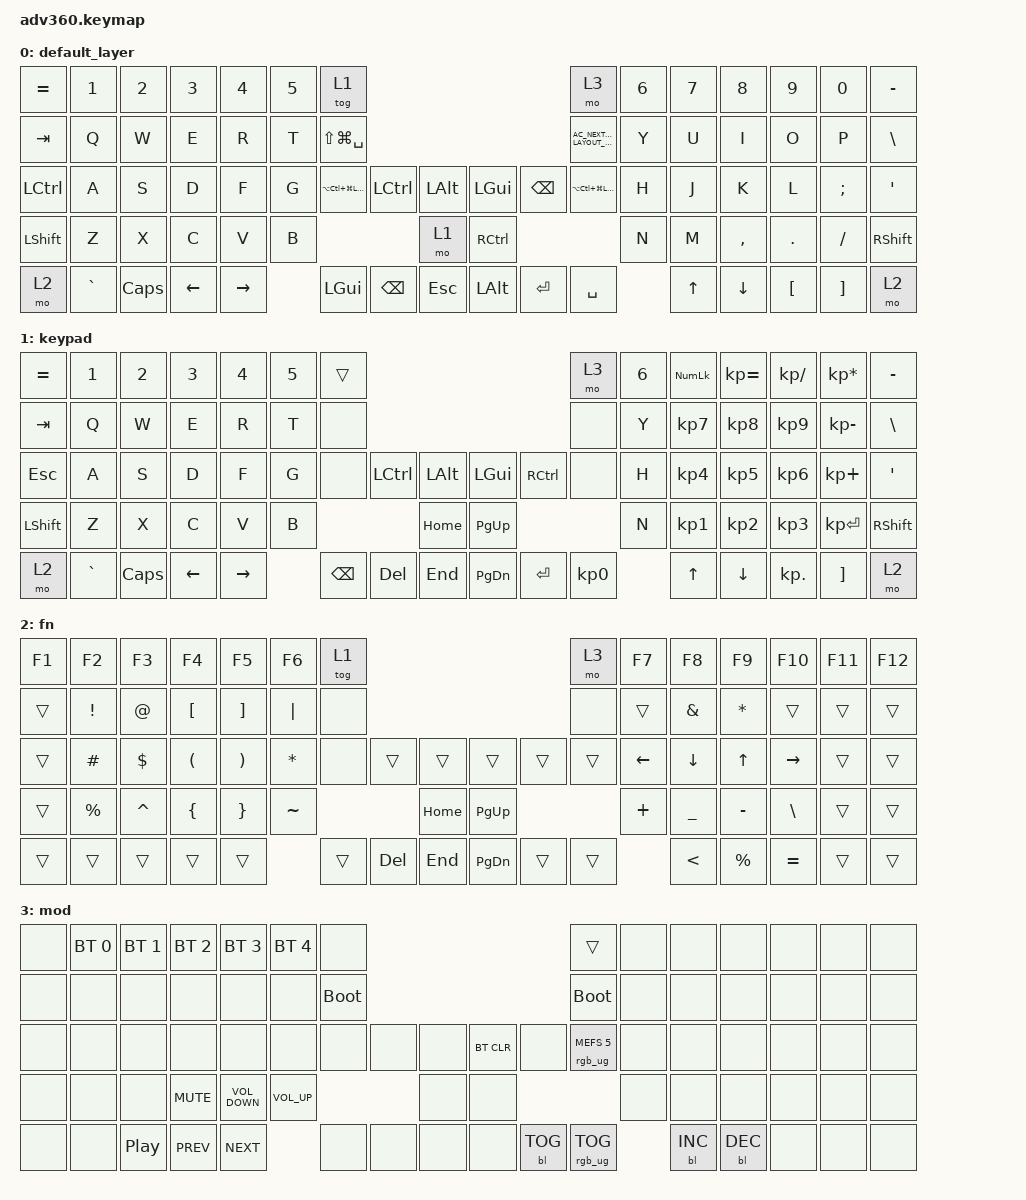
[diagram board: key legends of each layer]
#include <behaviors.dtsi>
#include <dt-bindings/zmk/backlight.h>
#include <dt-bindings/zmk/bt.h>
#include <dt-bindings/zmk/keys.h>
#include <dt-bindings/zmk/rgb.h>

#define DIVVY LA(LC(LG(SPACE)))
#define HYPER LA(LC(LG(LEFT_GUI)))

/ {
    behaviors {
        #include "macros.dtsi"
      #include "version.dtsi"
      #ifndef VERSION_MACRO

        macro_ver: macro_ver {
            compatible = "zmk,behavior-macro";
            label = "macro_version";
            #binding-cells = <0>;
            bindings = <&kp RET>;
        };

        #endif

        hm: homerow_mods {
            compatible = "zmk,behavior-hold-tap";
            label = "HOMEROW_MODS";
            #binding-cells = <2>;
            tapping-term-ms = <200>;
            quick_tap_ms = <175>;
            flavor = "tap-preferred";
            bindings = <&kp>, <&kp>;
        };
    };

    macros {
    };

    keymap {
        compatible = "zmk,keymap";

        default_layer {
            bindings = <
&kp EQUAL  &kp N1     &kp N2    &kp N3    &kp N4     &kp N5  &tog 1                                                                            &mo 3                                 &kp N6  &kp N7  &kp N8     &kp N9    &kp N0    &kp MINUS
&kp TAB    &kp Q      &kp W     &kp E     &kp R      &kp T   &kp LS(LG(SPACE))                                                                 &kp C_AC_NEXT_KEYBOARD_LAYOUT_SELECT  &kp Y   &kp U   &kp I      &kp O     &kp P     &kp BSLH
&kp LCTRL  &kp A      &kp S     &kp D     &kp F      &kp G   &kp HYPER          &kp LCTRL      &kp LALT      &kp LGUI           &kp BACKSPACE  &kp HYPER                             &kp H   &kp J   &kp K      &kp L     &kp SEMI  &kp SQT
&kp LSHFT  &kp Z      &kp X     &kp C     &kp V      &kp B                                     &mo 1         &kp RIGHT_CONTROL                                                       &kp N   &kp M   &kp COMMA  &kp DOT   &kp FSLH  &kp RSHFT
&mo 2      &kp GRAVE  &kp CAPS  &kp LEFT  &kp RIGHT          &kp LGUI           &kp BACKSPACE  &kp ESC       &kp LEFT_ALT       &kp ENTER      &kp SPACE                                     &kp UP  &kp DOWN   &kp LBKT  &kp RBKT  &mo 2
            >;
        };

        keypad {
            bindings = <
&kp EQUAL  &kp N1     &kp N2    &kp N3    &kp N4     &kp N5  &trans                                                   &mo 3      &kp N6  &kp KP_NUM  &kp KP_EQUAL  &kp KP_DIVIDE  &kp KP_MULTIPLY  &kp MINUS
&kp TAB    &kp Q      &kp W     &kp E     &kp R      &kp T   &none                                                    &none      &kp Y   &kp KP_N7   &kp KP_N8     &kp KP_N9      &kp KP_MINUS     &kp BSLH
&kp ESC    &kp A      &kp S     &kp D     &kp F      &kp G   &none     &kp LCTRL  &kp LALT      &kp LGUI   &kp RCTRL  &none      &kp H   &kp KP_N4   &kp KP_N5     &kp KP_N6      &kp KP_PLUS      &kp SQT
&kp LSHFT  &kp Z      &kp X     &kp C     &kp V      &kp B                        &kp HOME      &kp PG_UP                        &kp N   &kp KP_N1   &kp KP_N2     &kp KP_N3      &kp KP_ENTER     &kp RSHFT
&mo 2      &kp GRAVE  &kp CAPS  &kp LEFT  &kp RIGHT          &kp BSPC  &kp DEL    &kp END       &kp PG_DN  &kp ENTER  &kp KP_N0          &kp UP      &kp DOWN      &kp KP_DOT     &kp RBKT         &mo 2
            >;
        };

        fn {
            bindings = <
&kp F1  &kp F2           &kp F3       &kp F4                &kp F5                 &kp F6        &tog 1                                                   &mo 3   &kp F7    &kp F8         &kp F9        &kp F10        &kp F11  &kp F12
&trans  &kp EXCLAMATION  &kp AT_SIGN  &kp LEFT_BRACKET      &kp RIGHT_BRACKET      &kp PIPE      &none                                                    &none   &trans    &kp AMPERSAND  &kp ASTERISK  &trans         &trans   &trans
&trans  &kp HASH         &kp DOLLAR   &kp LEFT_PARENTHESIS  &kp RIGHT_PARENTHESIS  &kp ASTERISK  &none   &trans      &trans        &trans         &trans  &trans  &kp LEFT  &kp DOWN       &kp UP_ARROW  &kp RIGHT      &trans   &trans
&trans  &kp PERCENT      &kp CARET    &kp LEFT_BRACE        &kp RIGHT_BRACE        &kp TILDE                         &kp HOME      &kp PAGE_UP                    &kp PLUS  &kp UNDER      &kp MINUS     &kp BACKSLASH  &trans   &trans
&trans  &trans           &trans       &trans                &trans                               &trans  &kp DELETE  &kp END       &kp PAGE_DOWN  &trans  &trans            &kp LESS_THAN  &kp PERCENT   &kp EQUAL      &trans   &trans
            >;
        };

        mod {
            bindings = <
&none  &bt BT_SEL 0  &bt BT_SEL 1      &bt BT_SEL 2  &bt BT_SEL 3       &bt BT_SEL 4     &none                                                  &trans                  &none  &none       &none       &none  &none  &none
&none  &none         &none             &none         &none              &none            &bootloader                                            &bootloader             &none  &none       &none       &none  &none  &none
&none  &none         &none             &none         &none              &none            &none        &none  &none      &bt BT_CLR  &none       &rgb_ug RGB_MEFS_CMD 5  &none  &none       &none       &none  &none  &none
&none  &none         &none             &kp C_MUTE    &kp C_VOLUME_DOWN  &kp C_VOLUME_UP                      &none      &none                                           &none  &none       &none       &none  &none  &none
&none  &none         &kp C_PLAY_PAUSE  &kp C_PREV    &kp C_NEXT                          &none        &none  &none      &none       &bl BL_TOG  &rgb_ug RGB_TOG                &bl BL_INC  &bl BL_DEC  &none  &none  &none
            >;
        };
    };
};
